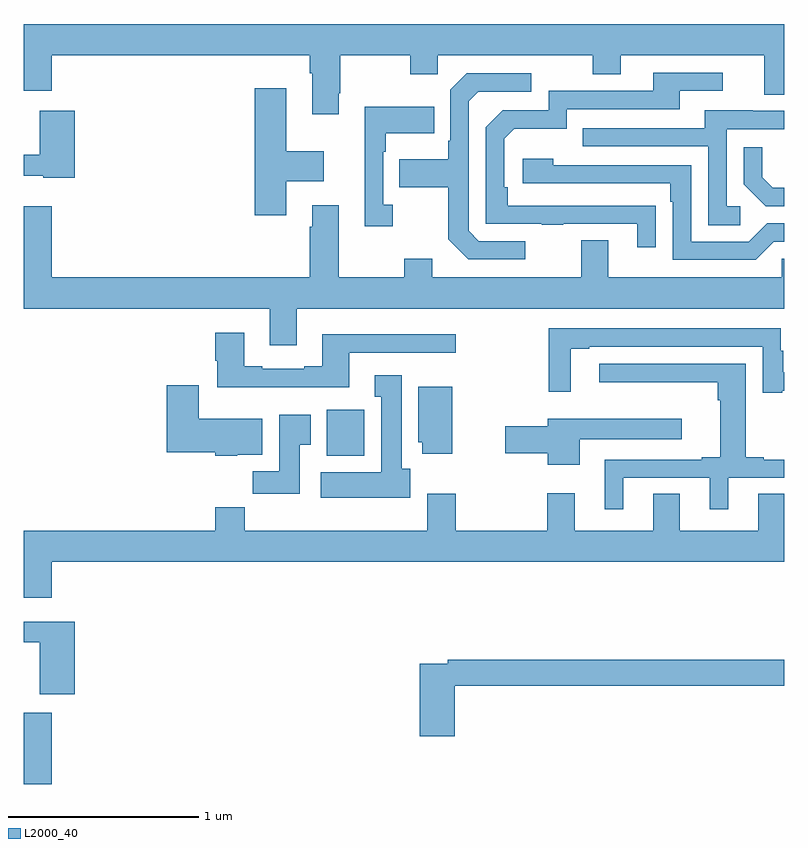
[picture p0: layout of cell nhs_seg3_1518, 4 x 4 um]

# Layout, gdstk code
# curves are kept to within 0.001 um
import gdstk
lib = gdstk.Library(unit=1e-6, precision=1e-09)
def R(c, l, rs):  # rectangles x0, y0, x1, y1
    for r in rs: c.add(gdstk.rectangle(r[:2], r[2:], *l))
def P(c, l, *ps):  # polygons
    for p in ps: c.add(gdstk.Polygon(p, *l))
L2000_40 = (2000, 40)

nhs_seg3_1518 = lib.new_cell('nhs_seg3_1518')
R(nhs_seg3_1518, L2000_40, [(189,714.4,189.148,714.775), (190.595,716.126,190.792,716.368)])
P(nhs_seg3_1518, L2000_40, [(190.657,718.033),(190.665,718.033),(190.665,718.232),(191.032,718.232),(191.032,718.133),(191.178,718.133),(191.178,718.232),(191.992,718.232),(191.992,718.133),(192.139,718.133),(192.139,718.232),(192.893,718.232),(192.893,718.024),(193,718.024),(193,718.396),(189,718.396),(189,718.044),(189.148,718.044),(189.148,718.232),(190.505,718.232),(190.505,718.136),(190.517,718.136),(190.517,717.921),(190.657,717.921)],
  [(192.323,717.44),(191.546,717.441),(191.546,717.538),(191.526,717.538),(191.526,717.792),(191.579,717.845),(191.856,717.845),(191.856,717.948),(192.451,717.948),(192.451,718.044),(192.676,718.044),(192.676,718.14),(192.311,718.14),(192.311,718.044),(191.76,718.044),(191.76,717.942),(191.52,717.942),(191.43,717.852),(191.43,717.345),(191.725,717.345),(191.725,717.34),(191.837,717.34),(191.837,717.345),(192.227,717.345),(192.227,717.222),(192.323,717.222)],
  [(191.638,717.255),(191.394,717.255),(191.34,717.309),(191.34,717.99),(191.391,718.041),(191.668,718.041),(191.668,718.137),(191.331,718.137),(191.244,718.05),(191.244,717.781),(191.232,717.781),(191.232,717.685),(190.975,717.685),(190.975,717.538),(191.232,717.538),(191.232,717.265),(191.337,717.159),(191.638,717.159)],
  [(190.381,717.569),(190.579,717.569),(190.579,717.727),(190.381,717.727),(190.381,718.057),(190.214,718.057),(190.214,717.39),(190.381,717.39)],
  [(190.942,717.446),(190.89,717.446),(190.89,717.725),(190.903,717.725),(190.903,717.821),(191.159,717.821),(191.159,717.961),(190.793,717.961),(190.793,717.333),(190.942,717.333)],
  [(192.769,717.438),(192.696,717.438),(192.696,717.843),(193,717.843),(193,717.939),(192.835,717.939),(192.835,717.943),(192.581,717.943),(192.581,717.849),(191.941,717.849),(191.941,717.753),(192.6,717.753),(192.6,717.337),(192.769,717.337)],
  [(189.269,717.94),(189.086,717.94),(189.086,717.709),(189,717.709),(189,717.599),(189.102,717.599),(189.102,717.587),(189.269,717.587)],
  [(193,717.534),(192.94,717.534),(192.883,717.591),(192.883,717.748),(192.786,717.748),(192.786,717.554),(192.902,717.438),(193,717.438)],
  [(192.945,717.252),(193,717.252),(193,717.348),(192.909,717.348),(192.813,717.252),(192.51,717.252),(192.51,717.654),(191.786,717.654),(191.786,717.688),(191.625,717.688),(191.625,717.558),(192.401,717.558),(192.401,717.461),(192.414,717.461),(192.414,717.156),(192.849,717.156)],
  [(190.435,716.9),(193,716.9),(193,717.162),(192.987,717.162),(192.987,717.064),(192.073,717.064),(192.073,717.259),(191.933,717.259),(191.933,717.064),(191.149,717.064),(191.149,717.163),(191.002,717.163),(191.002,717.064),(190.657,717.064),(190.657,717.442),(190.517,717.442),(190.517,717.329),(190.505,717.329),(190.505,717.064),(189.148,717.064),(189.148,717.439),(189,717.439),(189,716.9),(190.295,716.9),(190.295,716.706),(190.435,716.706)],
  [(192.988,716.468),(193,716.468),(193,716.566),(192.994,716.566),(192.994,716.678),(192.982,716.678),(192.982,716.796),(191.761,716.796),(191.761,716.463),(191.878,716.463),(191.878,716.688),(191.974,716.688),(191.974,716.7),(192.885,716.7),(192.885,716.457),(192.988,716.457)],
  [(190.711,716.667),(191.272,716.667),(191.272,716.764),(190.571,716.764),(190.571,716.596),(190.475,716.596),(190.475,716.583),(190.255,716.583),(190.255,716.596),(190.159,716.596),(190.159,716.773),(190.007,716.773),(190.007,716.625),(190.019,716.625),(190.019,716.486),(190.711,716.486)],
  [(192.154,716.01),(192.608,716.01),(192.608,715.845),(192.706,715.845),(192.706,716.01),(193,716.01),(193,716.106),(192.892,716.106),(192.892,716.119),(192.796,716.119),(192.796,716.61),(192.027,716.61),(192.027,716.513),(192.65,716.513),(192.65,716.417),(192.662,716.417),(192.662,716.119),(192.566,716.119),(192.566,716.106),(192.056,716.106),(192.056,715.845),(192.154,715.845)],
  [(191.032,716.058),(190.987,716.058),(190.987,716.548),(190.847,716.548),(190.847,716.435),(190.88,716.435),(190.88,716.038),(190.563,716.038),(190.563,715.904),(191.032,715.904)],
  [(190.122,716.132),(190.255,716.132),(190.255,716.32),(189.922,716.32),(189.922,716.497),(189.752,716.497),(189.752,716.144),(190.008,716.144),(190.008,716.126),(190.122,716.126)],
  [(191.254,716.488),(191.075,716.488),(191.075,716.196),(191.096,716.196),(191.096,716.136),(191.254,716.136)],
  [(190.453,716.185),(190.51,716.185),(190.51,716.341),(190.343,716.341),(190.343,716.044),(190.204,716.044),(190.204,715.926),(190.453,715.926)],
  [(191.923,716.213),(192.46,716.213),(192.46,716.32),(191.756,716.32),(191.756,716.282),(191.532,716.282),(191.532,716.14),(191.756,716.14),(191.756,716.079),(191.923,716.079)],
  [(189.148,715.568),(193,715.568),(193,715.925),(192.863,715.925),(192.863,715.732),(192.451,715.732),(192.451,715.925),(192.311,715.925),(192.311,715.732),(191.899,715.732),(191.899,715.93),(191.752,715.93),(191.752,715.732),(191.271,715.732),(191.271,715.927),(191.123,715.927),(191.123,715.732),(190.163,715.732),(190.163,715.856),(190.007,715.856),(190.007,715.732),(189,715.732),(189,715.38),(189.148,715.38)],
  [(189.269,715.254),(189,715.254),(189,715.146),(189.086,715.146),(189.086,714.873),(189.269,714.873)],
  [(191.267,714.916),(193,714.916),(193,715.052),(191.23,715.052),(191.23,715.032),(191.084,715.032),(191.084,714.651),(191.267,714.651)])

lib.write_gds('nhs_seg3_1518.gds')
